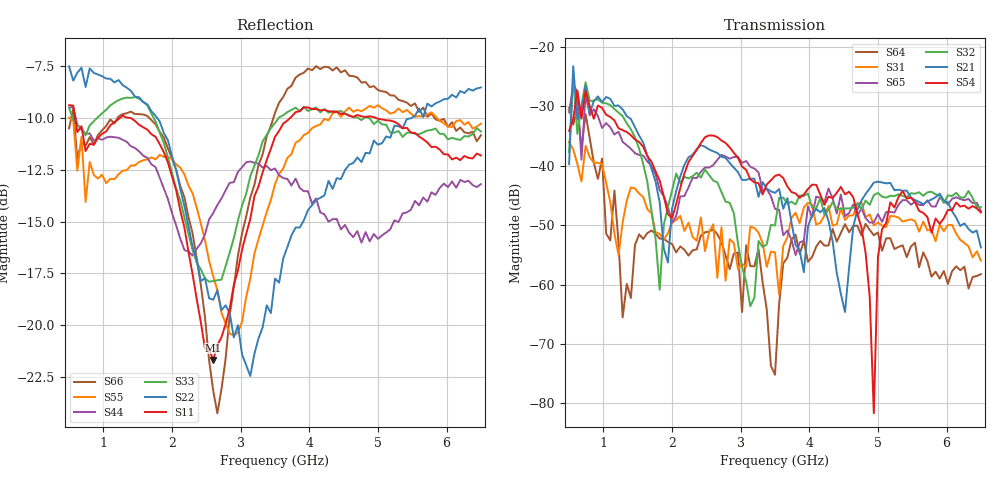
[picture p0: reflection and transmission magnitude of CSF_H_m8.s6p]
!Keysight Technologies,M9804A,MY58100912,A.14.10.03
!Date: Thursday, April 27, 2023 10:28:33
!Correction: S11(C  6-Port  )
!S12(C  6-Port  )
!S13(C  6-Port  )
!S14(C  6-Port  )
!S15(C  6-Port  )
!S16(C  6-Port  )
!S21(C  6-Port  )
!S22(C  6-Port  )
!S23(C  6-Port  )
!S24(C  6-Port  )
!S25(C  6-Port  )
!S26(C  6-Port  )
!S31(C  6-Port  )
!S32(C  6-Port  )
!S33(C  6-Port  )
!S34(C  6-Port  )
!S35(C  6-Port  )
!S36(C  6-Port  )
!S41(C  6-Port  )
!S42(C  6-Port  )
!S43(C  6-Port  )
!S44(C  6-Port  )
!S45(C  6-Port  )
!S46(C  6-Port  )
!S51(C  6-Port  )
!S52(C  6-Port  )
!S53(C  6-Port  )
!S54(C  6-Port  )
!S55(C  6-Port  )
!S56(C  6-Port  )
!S61(C  6-Port  )
!S62(C  6-Port  )
!S63(C  6-Port  )
!S64(C  6-Port  )
!S65(C  6-Port  )
!S66(C  6-Port  )
!S6P File: Measurement: :
# Hz S  RI  R 50
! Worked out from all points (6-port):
!   101 points, 500 MHz to 6.5 GHz, reference 50 ohm
!   strongest paths, dB at 500 MHz, 2 GHz, 3.5 GHz, 5 GHz, 6.5 GHz:
!     S54: -34.1, -48.8, -41.7, -55.4, -47.9
!     S21: -39.7, -47.2, -44.6, -42.7, -53.8
!     S32: -37.7, -44.2, -50.1, -44.6, -47.0
!     S65: -31.0, -49.6, -47.3, -48.2, -47.6
!     S31: -36.0, -49.6, -54.6, -49.6, -56.0
!     S64: -30.3, -53.2, -75.2, -51.2, -58.3
!   lowest |S11| = -21.7 dB at 2.6 GHz (marker M1), VSWR 1.18, Z = 42.6 + j1.99 ohm
!   |S11| at or under -10 dB: 588.1 MHz to 1.239 GHz (650.6 MHz wide, 71.2 % of centre); 1.393 GHz to 3.72 GHz (2.327 GHz wide, 91 % of centre); 4.973 GHz to end of sweep
